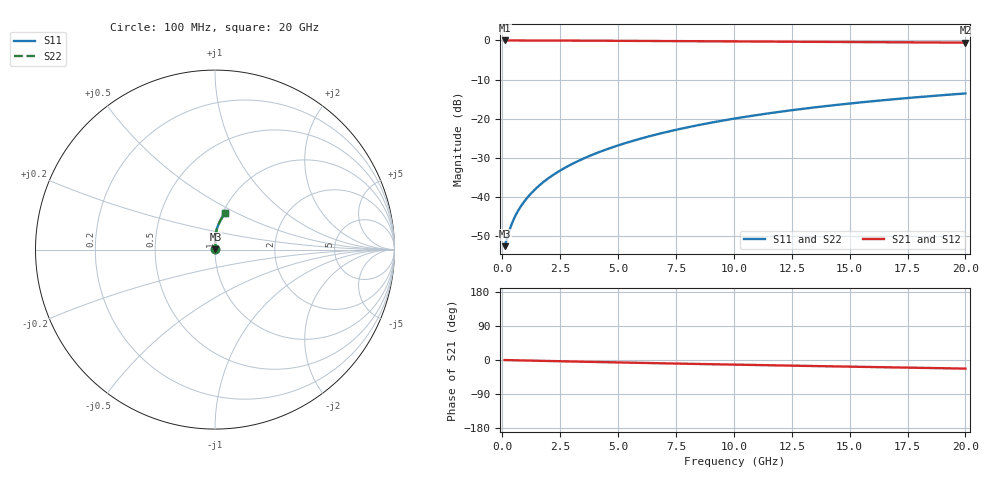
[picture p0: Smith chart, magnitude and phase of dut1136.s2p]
! Touchstone file exported from HFSS 2024.1.0
!  File:  C:/UserFiles/LocalFiles/RDL_TSV_Batchsim/temp_RDL_bottom_1136_1780055460.aedt
!  Generated:  07:53:25 PM May 29, 2026
!  Design:  RDL_bottom
!  Project:  temp_RDL_bottom_1136_1780055460
!  Setup:  Setup1
!  Solution:  Sweep
! Variables:
!  dtsv = 10.80580581um
!  hbump = 3um
!  htsv = 54.94um
!  ldown = 323.46um
!  lrdl = 100um
!  p = 40
!  p1 = 43um
!  rhole = 1um
!  t = 450um
!  tdown = 2.6um
!  trdl = 3.915915916um
!  wdown = 23.99um
!  wrdl = 20um
# GHz S MA R 50.000000
! Terminal data exported
! Port[1] = RDL1_T1
! Port[2] = RDL1_T2
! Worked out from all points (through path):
!   200 points, 100 MHz to 20 GHz, reference 50 ohm
!   highest |S21| = -0.02 dB at 100 MHz (marker M1); lowest = -0.6 dB at 20 GHz (marker M2)
!   group delay of S21, straight-line fit = 3.12 ps
!   lowest |S11| = -52.5 dB at 100 MHz (marker M3), VSWR 1.00, Z = 50.2 + j0.101 ohm
!   |S11| at or under -10 dB: start of sweep to end of sweep
!   |S22| runs from -52.5 to -13.5 dB; largest |S21 - S12| = 3.6e-15
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0.1  0.002376 24.9  0.9978 -0.1  0.9978 -0.1  0.002376 24.9
! Gamma 0 0 0 0
! Port Impedance 50 0 50 0
0.3  0.003718 51.4  0.9976 -0.4  0.9976 -0.4  0.003718 51.4
0.4  0.0045 57.6  0.9975 -0.6  0.9975 -0.6  0.0045 57.6
0.5  0.005288 61.9  0.9974 -0.7  0.9974 -0.7  0.005287 61.9
0.6  0.006073 65.1  0.9972 -0.8  0.9972 -0.8  0.006073 65.1
0.7  0.006858 67.7  0.9971 -1.0  0.9971 -1.0  0.006858 67.7
0.9  0.008437 71.7  0.9969 -1.2  0.9969 -1.2  0.008436 71.7
1.2  0.01084 75.9  0.9965 -1.6  0.9965 -1.6  0.01084 75.9
1.7  0.01498 80.4  0.9958 -2.3  0.9958 -2.3  0.01498 80.4
2.2  0.01927 83.2  0.995 -2.9  0.995 -2.9  0.01927 83.2
2.8  0.0246 85.4  0.9938 -3.7  0.9938 -3.7  0.02459 85.4
3.5  0.03106 87.1  0.9921 -4.6  0.9921 -4.6  0.03106 87.1
4.2  0.03778 88.1  0.9901 -5.5  0.9901 -5.5  0.03778 88.1
5  0.04577 88.7  0.9877 -6.4  0.9877 -6.4  0.04576 88.7
5.9  0.05509 88.9  0.9847 -7.5  0.9847 -7.5  0.05509 88.9
6.8  0.06471 88.7  0.9816 -8.6  0.9816 -8.6  0.0647 88.7
8.4  0.08234 87.7  0.9759 -10.4  0.9759 -10.4  0.08233 87.7
10.1  0.1015 86.2  0.9698 -12.3  0.9698 -12.3  0.1015 86.2
11.7  0.1196 84.4  0.9642 -14.1  0.9642 -14.1  0.1196 84.4
13.4  0.1388 82.4  0.9583 -15.9  0.9583 -15.9  0.1388 82.4
16.7  0.1754 78.4  0.9471 -19.3  0.9471 -19.3  0.1753 78.3
20  0.2105 74.4  0.9359 -22.7  0.9359 -22.7  0.2105 74.4
